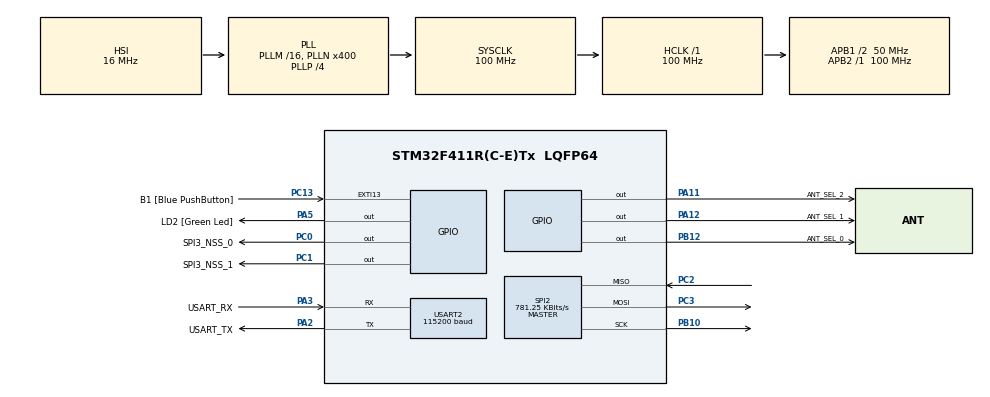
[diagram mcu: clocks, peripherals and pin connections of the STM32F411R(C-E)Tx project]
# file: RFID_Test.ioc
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Mcu.Family=STM32F4
Mcu.Name=STM32F411R(C-E)Tx
Mcu.Package=LQFP64
NVIC.PriorityGroup=NVIC_PRIORITYGROUP_2
NVIC.SPI2_IRQn=true\:1\:0\:true\:false\:true\:true
NVIC.USART2_IRQn=true\:1\:0\:true\:false\:true\:true
PA11.GPIO_Label=ANT_SEL_2
PA11.PinState=GPIO_PIN_SET
PA11.Signal=GPIO_Output
PA12.GPIO_Label=ANT_SEL_1
PA12.PinState=GPIO_PIN_SET
PA12.Signal=GPIO_Output
PA13.GPIO_Label=TMS
PA13.Mode=Serial_Wire
PA13.Signal=SYS_JTMS-SWDIO
PA14.GPIO_Label=TCK
PA14.Mode=Serial_Wire
PA14.Signal=SYS_JTCK-SWCLK
PA2.GPIO_Label=USART_TX
PA2.Mode=Asynchronous
PA2.Signal=USART2_TX
PA3.GPIO_Label=USART_RX
PA3.Mode=Asynchronous
PA3.Signal=USART2_RX
PA5.GPIO_Label=LD2 [Green Led]
PA5.Signal=GPIO_Output
PB10.Mode=Full_Duplex_Master
PB10.Signal=SPI2_SCK
PB12.GPIO_Label=ANT_SEL_0
PB12.PinState=GPIO_PIN_SET
PB12.Signal=GPIO_Output
PB3.GPIO_Label=SWO
PB3.Signal=SYS_JTDO-SWO
PC0.GPIO_Label=SPI3_NSS_0
PC0.Signal=GPIO_Output
PC1.GPIO_Label=SPI3_NSS_1
PC1.Signal=GPIO_Output
PC13-ANTI_TAMP.GPIO_Label=B1 [Blue PushButton]
PC13-ANTI_TAMP.GPIO_ModeDefaultEXTI=GPIO_MODE_IT_FALLING
PC13-ANTI_TAMP.Signal=GPXTI13
PC14-OSC32_IN.Mode=LSE-External-Oscillator
PC14-OSC32_IN.Signal=RCC_OSC32_IN
PC15-OSC32_OUT.Mode=LSE-External-Oscillator
PC15-OSC32_OUT.Signal=RCC_OSC32_OUT
PC2.Mode=Full_Duplex_Master
PC2.Signal=SPI2_MISO
PC3.Mode=Full_Duplex_Master
PC3.Signal=SPI2_MOSI
PH0\ -\ OSC_IN.Mode=HSE-External-Clock-Source
PH0\ -\ OSC_IN.Signal=RCC_OSC_IN
PH1\ -\ OSC_OUT.Mode=HSE-External-Clock-Source
PH1\ -\ OSC_OUT.Signal=RCC_OSC_OUT
ProjectManager.HeapSize=0x200
ProjectManager.StackSize=0x400
ProjectManager.TargetToolchain=SW4STM32
RCC.48MHZClocksFreq_Value=100000000
RCC.AHBFreq_Value=100000000
RCC.APB1CLKDivider=RCC_HCLK_DIV2
RCC.APB1Freq_Value=50000000
RCC.APB1TimFreq_Value=100000000
RCC.APB2Freq_Value=100000000
RCC.APB2TimFreq_Value=100000000
RCC.CortexFreq_Value=100000000
RCC.FLatency-AdvancedSettings=FLASH_LATENCY_3
RCC.HCLKFreq_Value=100000000
RCC.HSE_VALUE=8000000
RCC.HSI_VALUE=16000000
RCC.PLLN=400
RCC.PLLP=RCC_PLLP_DIV4
RCC.SYSCLKFreq_VALUE=100000000
RCC.SYSCLKSource=RCC_SYSCLKSOURCE_PLLCLK
RCC.VCOOutputFreq_Value=400000000
SPI2.BaudRatePrescaler=SPI_BAUDRATEPRESCALER_64
SPI2.CalculateBaudRate=781.25 KBits/s
SPI2.Direction=SPI_DIRECTION_2LINES
SPI2.Mode=SPI_MODE_MASTER
SPI2.VirtualType=VM_MASTER
TIM3.Period=2000
TIM3.Prescaler=9999
USART2.BaudRate=115200
USART2.Mode=MODE_TX_RX
USART2.VirtualMode=VM_ASYNC
VP_TIM3_VS_ClockSourceINT.Mode=Internal
board=NUCLEO-F411RE

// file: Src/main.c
/* USER CODE BEGIN Header */
/*   MIT License
*
*    Copyright (c) 2019 Timothy Pansino, Adam Behnke, Zachary Neumann, Mitchell Keeney
*
*    Permission is hereby granted, free of charge, to any person obtaining a copy
*    of this software and associated documentation files (the "Software"), to deal
*    in the Software without restriction, including without limitation the rights
*    to use, copy, modify, merge, publish, distribute, sublicense, and/or sell
*    copies of the Software, and to permit persons to whom the Software is
*    furnished to do so, subject to the following conditions:
*
*    The above copyright notice and this permission notice shall be included in all
*    copies or substantial portions of the Software.
*
*    THE SOFTWARE IS PROVIDED "AS IS", WITHOUT WARRANTY OF ANY KIND, EXPRESS OR
*    IMPLIED, INCLUDING BUT NOT LIMITED TO THE WARRANTIES OF MERCHANTABILITY,
*    FITNESS FOR A PARTICULAR PURPOSE AND NONINFRINGEMENT. IN NO EVENT SHALL THE
*    AUTHORS OR COPYRIGHT HOLDERS BE LIABLE FOR ANY CLAIM, DAMAGES OR OTHER
*    LIABILITY, WHETHER IN AN ACTION OF CONTRACT, TORT OR OTHERWISE, ARISING FROM,
*    OUT OF OR IN CONNECTION WITH THE SOFTWARE OR THE USE OR OTHER DEALINGS IN THE
*    SOFTWARE.
*/
/**
  ******************************************************************************
  * @file           : main.c
  * @brief          : Main program body
  ******************************************************************************
  ** This notice applies to any and all portions of this file
  * that are not between comment pairs USER CODE BEGIN and
  * USER CODE END. Other portions of this file, whether
  * inserted by the user or by software development tools
  * are owned by their respective copyright owners.
  *
  * COPYRIGHT(c) 2019 STMicroelectronics
  *
  * Redistribution and use in source and binary forms, with or without modification,
  * are permitted provided that the following conditions are met:
  *   1. Redistributions of source code must retain the above copyright notice,
  *      this list of conditions and the following disclaimer.
  *   2. Redistributions in binary form must reproduce the above copyright notice,
  *      this list of conditions and the following disclaimer in the documentation
  *      and/or other materials provided with the distribution.
  *   3. Neither the name of STMicroelectronics nor the names of its contributors
  *      may be used to endorse or promote products derived from this software
  *      without specific prior written permission.
  *
  * THIS SOFTWARE IS PROVIDED BY THE COPYRIGHT HOLDERS AND CONTRIBUTORS "AS IS"
  * AND ANY EXPRESS OR IMPLIED WARRANTIES, INCLUDING, BUT NOT LIMITED TO, THE
  * IMPLIED WARRANTIES OF MERCHANTABILITY AND FITNESS FOR A PARTICULAR PURPOSE ARE
  * DISCLAIMED. IN NO EVENT SHALL THE COPYRIGHT HOLDER OR CONTRIBUTORS BE LIABLE
  * FOR ANY DIRECT, INDIRECT, INCIDENTAL, SPECIAL, EXEMPLARY, OR CONSEQUENTIAL
  * DAMAGES (INCLUDING, BUT NOT LIMITED TO, PROCUREMENT OF SUBSTITUTE GOODS OR
  * SERVICES; LOSS OF USE, DATA, OR PROFITS; OR BUSINESS INTERRUPTION) HOWEVER
  * CAUSED AND ON ANY THEORY OF LIABILITY, WHETHER IN CONTRACT, STRICT LIABILITY,
  * OR TORT (INCLUDING NEGLIGENCE OR OTHERWISE) ARISING IN ANY WAY OUT OF THE USE
  * OF THIS SOFTWARE, EVEN IF ADVISED OF THE POSSIBILITY OF SUCH DAMAGE.
  *
  ******************************************************************************
  */
/* USER CODE END Header */

#include "main.h"

/* USER CODE BEGIN Includes */
#include <stdarg.h>
#include <string.h>
#include "mfrc630.h"
#include "mfrc630_def.h"

#include "pieces.h"
#include "chess.h"
#include "micro.h"
#include "debug.h"

/* USER CODE END Includes */

/* USER CODE BEGIN PD */
#define SPI_NSS_PIN_0  GPIOC, GPIO_PIN_0
#define SPI_NSS_PIN_1  GPIOC, GPIO_PIN_1
#define ANT_SEL_PIN_0  GPIOA, GPIO_PIN_12
#define ANT_SEL_PIN_1  GPIOA, GPIO_PIN_11
#define ANT_SEL_PIN_2  GPIOB, GPIO_PIN_12
#define SpiHandle hspi2

/* USER CODE END PD */

SPI_HandleTypeDef hspi2;

TIM_HandleTypeDef htim3;

UART_HandleTypeDef huart2;

/* USER CODE BEGIN PV */
char receiveBuffer[100];
char transmitBuffer[100];
char s[100];
int dataReceivedFlag = 0;
uint8_t receivedData = 0;
int currentLocation = 0;
int rfidReaderAddress = 0;
int rfidAntennaAddress = 0;

char* hello_world = "Hello World!";
char* newlineStr = NEWLINE_STR;
char* backSpace = BACKSPACE_STR;

// Boards
B curBoard;
B scanBoard;
/* USER CODE END PV */

void SystemClock_Config(void);
static void MX_GPIO_Init(void);
static void MX_USART2_UART_Init(void);
static void MX_TIM3_Init(void);
static void MX_SPI2_Init(void);
/* USER CODE BEGIN PFP */
void HAL_UART_RxCpltCallback(UART_HandleTypeDef * huart);
char * receiveString(void);
void transmitString(char *);
void setup(void);
/* USER CODE END PFP */

int main(void)
{

  /* MCU Configuration--------------------------------------------------------*/

  /* Reset of all peripherals, Initializes the Flash interface and the Systick. */
  HAL_Init();

  /* Configure the system clock */
  SystemClock_Config();

  /* Initialize all configured peripherals */
  MX_GPIO_Init();
  MX_USART2_UART_Init();
  MX_TIM3_Init();
  MX_SPI2_Init();
  /* USER CODE BEGIN 2 */
  // Uart init message
  Print(CLEAR_TERMINAL);
  Print("UART Initialized.\n");

  // Initialize Pins
  HAL_GPIO_WritePin(GPIOA, GPIO_PIN_5, 0);

  // Setup RFID Reader
  setup();
  mfrc630_flush_fifo(0);

  // Setup Board State
  blankBoard(curBoard);
  blankBoard(scanBoard);

  HAL_TIM_Base_Start_IT(&htim3);
  /* USER CODE END 2 */

  /* Infinite loop */
  /* USER CODE BEGIN WHILE */
  while (1)
  {
	// Scan
	//Print(CLEAR_TERMINAL);

  	Print("Scanning...\n");
  	HAL_GPIO_WritePin(GPIOA, GPIO_PIN_5, 1);
  	updateBoard(scanBoard);
  	HAL_GPIO_WritePin(GPIOA, GPIO_PIN_5, 0);

	// Output results
	copyBoard(curBoard, scanBoard);
	printBoard(curBoard);

	// Delay
	HAL_Delay(1000);
    /* USER CODE END WHILE */

  }
}

void SystemClock_Config(void)
{
  RCC_OscInitTypeDef RCC_OscInitStruct = {0};
  RCC_ClkInitTypeDef RCC_ClkInitStruct = {0};

  /**Configure the main internal regulator output voltage
  */
  __HAL_RCC_PWR_CLK_ENABLE();
  __HAL_PWR_VOLTAGESCALING_CONFIG(PWR_REGULATOR_VOLTAGE_SCALE1);
  /**Initializes the CPU, AHB and APB busses clocks
  */
  RCC_OscInitStruct.OscillatorType = RCC_OSCILLATORTYPE_HSI;
  RCC_OscInitStruct.HSIState = RCC_HSI_ON;
  RCC_OscInitStruct.HSICalibrationValue = RCC_HSICALIBRATION_DEFAULT;
  RCC_OscInitStruct.PLL.PLLState = RCC_PLL_ON;
  RCC_OscInitStruct.PLL.PLLSource = RCC_PLLSOURCE_HSI;
  RCC_OscInitStruct.PLL.PLLM = 16;
  RCC_OscInitStruct.PLL.PLLN = 400;
  RCC_OscInitStruct.PLL.PLLP = RCC_PLLP_DIV4;
  RCC_OscInitStruct.PLL.PLLQ = 4;
  if (HAL_RCC_OscConfig(&RCC_OscInitStruct) != HAL_OK)
  {
    Error_Handler();
  }
  /**Initializes the CPU, AHB and APB busses clocks
  */
  RCC_ClkInitStruct.ClockType = RCC_CLOCKTYPE_HCLK|RCC_CLOCKTYPE_SYSCLK
                              |RCC_CLOCKTYPE_PCLK1|RCC_CLOCKTYPE_PCLK2;
  RCC_ClkInitStruct.SYSCLKSource = RCC_SYSCLKSOURCE_PLLCLK;
  RCC_ClkInitStruct.AHBCLKDivider = RCC_SYSCLK_DIV1;
  RCC_ClkInitStruct.APB1CLKDivider = RCC_HCLK_DIV2;
  RCC_ClkInitStruct.APB2CLKDivider = RCC_HCLK_DIV1;

  if (HAL_RCC_ClockConfig(&RCC_ClkInitStruct, FLASH_LATENCY_3) != HAL_OK)
  {
    Error_Handler();
  }
}

static void MX_SPI2_Init(void)
{

  /* SPI2 parameter configuration*/
  hspi2.Instance = SPI2;
  hspi2.Init.Mode = SPI_MODE_MASTER;
  hspi2.Init.Direction = SPI_DIRECTION_2LINES;
  hspi2.Init.DataSize = SPI_DATASIZE_8BIT;
  hspi2.Init.CLKPolarity = SPI_POLARITY_LOW;
  hspi2.Init.CLKPhase = SPI_PHASE_1EDGE;
  hspi2.Init.NSS = SPI_NSS_SOFT;
  hspi2.Init.BaudRatePrescaler = SPI_BAUDRATEPRESCALER_64;
  hspi2.Init.FirstBit = SPI_FIRSTBIT_MSB;
  hspi2.Init.TIMode = SPI_TIMODE_DISABLE;
  hspi2.Init.CRCCalculation = SPI_CRCCALCULATION_DISABLE;
  hspi2.Init.CRCPolynomial = 10;
  if (HAL_SPI_Init(&hspi2) != HAL_OK)
  {
    Error_Handler();
  }

}

static void MX_TIM3_Init(void)
{

  TIM_ClockConfigTypeDef sClockSourceConfig = {0};
  TIM_MasterConfigTypeDef sMasterConfig = {0};

  htim3.Instance = TIM3;
  htim3.Init.Prescaler = 9999;
  htim3.Init.CounterMode = TIM_COUNTERMODE_UP;
  htim3.Init.Period = 2000;
  htim3.Init.ClockDivision = TIM_CLOCKDIVISION_DIV1;
  if (HAL_TIM_Base_Init(&htim3) != HAL_OK)
  {
    Error_Handler();
  }
  sClockSourceConfig.ClockSource = TIM_CLOCKSOURCE_INTERNAL;
  if (HAL_TIM_ConfigClockSource(&htim3, &sClockSourceConfig) != HAL_OK)
  {
    Error_Handler();
  }
  sMasterConfig.MasterOutputTrigger = TIM_TRGO_RESET;
  sMasterConfig.MasterSlaveMode = TIM_MASTERSLAVEMODE_DISABLE;
  if (HAL_TIMEx_MasterConfigSynchronization(&htim3, &sMasterConfig) != HAL_OK)
  {
    Error_Handler();
  }

}

static void MX_USART2_UART_Init(void)
{

  huart2.Instance = USART2;
  huart2.Init.BaudRate = 115200;
  huart2.Init.WordLength = UART_WORDLENGTH_8B;
  huart2.Init.StopBits = UART_STOPBITS_1;
  huart2.Init.Parity = UART_PARITY_NONE;
  huart2.Init.Mode = UART_MODE_TX_RX;
  huart2.Init.HwFlowCtl = UART_HWCONTROL_NONE;
  huart2.Init.OverSampling = UART_OVERSAMPLING_16;
  if (HAL_UART_Init(&huart2) != HAL_OK)
  {
    Error_Handler();
  }

}

static void MX_GPIO_Init(void)
{
  GPIO_InitTypeDef GPIO_InitStruct = {0};

  /* GPIO Ports Clock Enable */
  __HAL_RCC_GPIOC_CLK_ENABLE();
  __HAL_RCC_GPIOH_CLK_ENABLE();
  __HAL_RCC_GPIOA_CLK_ENABLE();
  __HAL_RCC_GPIOB_CLK_ENABLE();

  /*Configure GPIO pin Output Level */
  HAL_GPIO_WritePin(GPIOC, SPI3_NSS_0_Pin|SPI3_NSS_1_Pin, GPIO_PIN_RESET);

  /*Configure GPIO pin Output Level */
  HAL_GPIO_WritePin(LD2_GPIO_Port, LD2_Pin, GPIO_PIN_RESET);

  /*Configure GPIO pin Output Level */
  HAL_GPIO_WritePin(ANT_SEL_0_GPIO_Port, ANT_SEL_0_Pin, GPIO_PIN_SET);

  /*Configure GPIO pin Output Level */
  HAL_GPIO_WritePin(GPIOA, ANT_SEL_2_Pin|ANT_SEL_1_Pin, GPIO_PIN_SET);

  /*Configure GPIO pin : B1_Pin */
  GPIO_InitStruct.Pin = B1_Pin;
  GPIO_InitStruct.Mode = GPIO_MODE_IT_FALLING;
  GPIO_InitStruct.Pull = GPIO_NOPULL;
  HAL_GPIO_Init(B1_GPIO_Port, &GPIO_InitStruct);

  /*Configure GPIO pins : SPI3_NSS_0_Pin SPI3_NSS_1_Pin */
  GPIO_InitStruct.Pin = SPI3_NSS_0_Pin|SPI3_NSS_1_Pin;
  GPIO_InitStruct.Mode = GPIO_MODE_OUTPUT_PP;
  GPIO_InitStruct.Pull = GPIO_NOPULL;
  GPIO_InitStruct.Speed = GPIO_SPEED_FREQ_LOW;
  HAL_GPIO_Init(GPIOC, &GPIO_InitStruct);

  /*Configure GPIO pins : LD2_Pin ANT_SEL_2_Pin ANT_SEL_1_Pin */
  GPIO_InitStruct.Pin = LD2_Pin|ANT_SEL_2_Pin|ANT_SEL_1_Pin;
  GPIO_InitStruct.Mode = GPIO_MODE_OUTPUT_PP;
  GPIO_InitStruct.Pull = GPIO_NOPULL;
  GPIO_InitStruct.Speed = GPIO_SPEED_FREQ_LOW;
  HAL_GPIO_Init(GPIOA, &GPIO_InitStruct);

  /*Configure GPIO pin : ANT_SEL_0_Pin */
  GPIO_InitStruct.Pin = ANT_SEL_0_Pin;
  GPIO_InitStruct.Mode = GPIO_MODE_OUTPUT_PP;
  GPIO_InitStruct.Pull = GPIO_NOPULL;
  GPIO_InitStruct.Speed = GPIO_SPEED_FREQ_LOW;
  HAL_GPIO_Init(ANT_SEL_0_GPIO_Port, &GPIO_InitStruct);

}

/* USER CODE BEGIN 4 */
void mfrc630_SPI_transfer(uint8_t* tx, uint8_t* rx, uint16_t len){
  switch(HAL_SPI_TransmitReceive(&SpiHandle, tx, rx, len, TIMEOUT)){
      case HAL_OK:
        //Print("SPI OK\n");
        break;
      case HAL_TIMEOUT:
        Print("Timeout\n");
        break;
      case HAL_ERROR:
        Print("SPI Error (No idea, good luck)\n");
        Error_Handler();
        break;
      default:
        break;
  }
}

void mfrc630_SPI_select(){
  // Unselect all pins first
  mfrc630_SPI_unselect();

  // Set reader NSS pin
  if (rfidReaderAddress == 0) {
	HAL_GPIO_WritePin(SPI_NSS_PIN_0, 0);
  }
  else if (rfidReaderAddress == 1) {
	HAL_GPIO_WritePin(SPI_NSS_PIN_1, 0);
  }

  // Set antenna address
  HAL_GPIO_WritePin(ANT_SEL_PIN_2, (rfidAntennaAddress >> 2) & 1);
  HAL_GPIO_WritePin(ANT_SEL_PIN_1, (rfidAntennaAddress >> 1) & 1);
  HAL_GPIO_WritePin(ANT_SEL_PIN_0, rfidAntennaAddress & 1);
}

void mfrc630_SPI_unselect(){
	// Unselect all readers
	HAL_GPIO_WritePin(SPI_NSS_PIN_0, 1);
	HAL_GPIO_WritePin(SPI_NSS_PIN_1, 1);
}

void setup(void) {
  // Antenna Address Init
  rfidAntennaAddress = 0;

  // Set the registers of the MFRC630 into the default.
  //for (rfidReaderAddress = 0; rfidReaderAddress < 8; rfidReaderAddress++) {
  for (rfidReaderAddress = 0; rfidReaderAddress < 2; rfidReaderAddress++) {
	  mfrc630_SPI_select();

	  mfrc630_AN1102_recommended_registers(MFRC630_PROTO_ISO14443A_106_MILLER_MANCHESTER);
	  mfrc630_write_reg(0x28, 0x8E);
	  mfrc630_write_reg(0x29, 0x15);
	  mfrc630_write_reg(0x2A, 0x11);
	  mfrc630_write_reg(0x2B, 0x06);

	  mfrc630_SPI_unselect();
  }
}

void HAL_TIM_PeriodElapsedCallback(TIM_HandleTypeDef *htim)
{
    if (htim->Instance == htim3.Instance)
    {

    }
}

void HAL_UART_RxCpltCallback(UART_HandleTypeDef * huart)
{
    /* Move data into buffer */
    receiveBuffer[currentLocation] = receivedData;

    /* Variable to keep track of location in buffer */
    if (((char)receiveBuffer[currentLocation] == '\n') || ((char)receiveBuffer[currentLocation] == '\r')) {
        HAL_UART_Transmit(&huart2, (uint8_t*) newlineStr, 2, TIMEOUT);
        dataReceivedFlag = 1;
        receiveBuffer[currentLocation] = '\0';
        currentLocation = 0;
    }
    else if (((char)receiveBuffer[currentLocation] == 0x08) || ((char)receiveBuffer[currentLocation] == 0x7F)) {
    	if (currentLocation > 0) {
        	Print(backSpace);
        	receiveBuffer[currentLocation] = '\0';
    		currentLocation--;
    	}
    }
    else {
        HAL_UART_Transmit(&huart2, &receivedData, 1, TIMEOUT);
        currentLocation++;
    }
}

char * receiveString(void) {
    /* Listen for input; print back to screen when fully received */
    while (!dataReceivedFlag) {
        HAL_UART_Receive_IT(&huart2, &receivedData, 1);
    }
    dataReceivedFlag = 0;
    return receiveBuffer;
}

void transmitString(char * s) {
	//int size = 0;
	int i;

	//while(s[size] != '\0') size++;
	for (i = 0; s[i] != '\0'; i++) {
		if (s[i] == '\n') {
			HAL_UART_Transmit(&huart2, (uint8_t*) newlineStr, 2, TIMEOUT);
		}
		else if (s[i] != '\r' && s[i] != '\0') {
			HAL_UART_Transmit(&huart2, (uint8_t*) &s[i], 1, TIMEOUT);
		}
	}

	return;
}

void Print(const char* format, ...) {
  va_list args;
  va_start(args, format);
  vsprintf(transmitBuffer, format, args);
  transmitString(transmitBuffer);
  va_end(args);

  return;
}

void Scan(char* s) {
	receiveString();
	strcpy(s, receiveBuffer);

	return;
}
/* USER CODE END 4 */

void Error_Handler(void)
{
}

/************************ (C) COPYRIGHT STMicroelectronics *****END OF FILE****/
